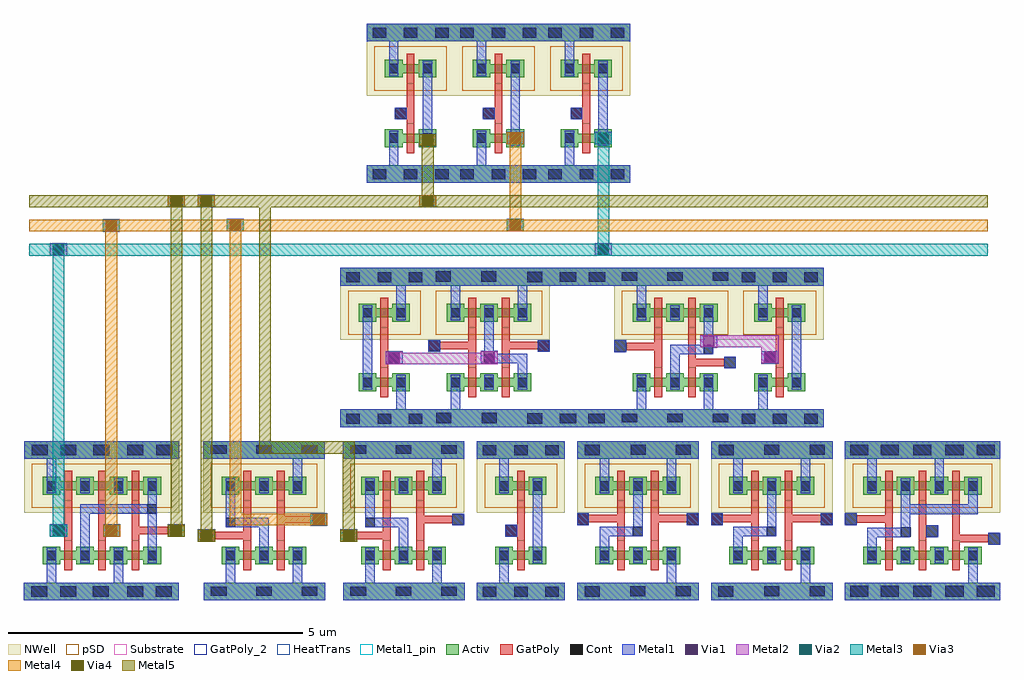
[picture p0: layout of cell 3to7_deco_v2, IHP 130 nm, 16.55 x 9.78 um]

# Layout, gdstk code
from math import pi, radians
import gdstk
lib = gdstk.Library(unit=1e-6, precision=5e-09)
def R(c, l, rs):  # rectangles x0, y0, x1, y1
    for r in rs: c.add(gdstk.rectangle(r[:2], r[2:], *l))
def A(c, l, x, y, w, h, nx, ny, dx, dy):  # array of equal rectangles
    R(c, l, [(x+i*dx, y+j*dy, x+i*dx+w, y+j*dy+h) for i in range(nx) for j in range(ny)])
Activ = (1, 0)
GatPoly = (5, 0)
GatPoly_2 = (5, 2)
Cont = (6, 0)
Metal1 = (8, 0)
Metal1_pin = (8, 2)
Metal2 = (10, 0)
pSD = (14, 0)
Via1 = (19, 0)
Via2 = (29, 0)
Metal3 = (30, 0)
NWell = (31, 0)
Substrate = (40, 0)
Via3 = (49, 0)
Metal4 = (50, 0)
HeatTrans = (51, 0)
Via4 = (66, 0)
Metal5 = (67, 0)

pmos_1 = lib.new_cell('pmos$1')
R(pmos_1, Activ, [(0,0,0.3,0.3), (0.57,0,0.87,0.3), (0,0.075,0.87,0.225)])
R(pmos_1, GatPoly, [(0.37,-0.105,0.5,0.405), (0.37,-0.105,0.5,0.405)])
R(pmos_1, Cont, [(0.07,0.07,0.23,0.23), (0.64,0.07,0.8,0.23)])
R(pmos_1, Metal1, [(0.07,0.02,0.23,0.28), (0.07,0.02,0.23,0.28), (0.64,0.02,0.8,0.28), (0.64,0.02,0.8,0.28)])
R(pmos_1, pSD, [(-0.18,-0.225,1.05,0.525)])
R(pmos_1, NWell, [(-0.31,-0.31,1.18,0.61)])
R(pmos_1, Substrate, [(0.57,0,0.87,0.3)])
R(pmos_1, HeatTrans, [(0.37,-0.105,0.5,0.405)])
pmos_1.add(gdstk.Label('pmos', (0.435,0.15), layer=63, texttype=0))
pmos_1.add(gdstk.Label('pmos', (0.435,0.15), layer=51, texttype=0))

nmos_1 = lib.new_cell('nmos$1')
R(nmos_1, Activ, [(0,0,0.3,0.3), (0.57,0,0.87,0.3), (0,0.075,0.87,0.225)])
R(nmos_1, GatPoly, [(0.37,-0.105,0.5,0.405)])
R(nmos_1, GatPoly_2, [(0.37,-0.105,0.5,0.405)])
R(nmos_1, Cont, [(0.07,0.07,0.23,0.23), (0.64,0.07,0.8,0.23)])
R(nmos_1, Metal1, [(0.07,0.02,0.23,0.28), (0.64,0.02,0.8,0.28)])
R(nmos_1, Metal1_pin, [(0.07,0.02,0.23,0.28), (0.64,0.02,0.8,0.28)])
R(nmos_1, HeatTrans, [(0.37,-0.105,0.5,0.405)])
nmos_1.add(gdstk.Label('nmos', (0.435,0.15), layer=63, texttype=0))
nmos_1.add(gdstk.Label('nmos', (0.435,0.15), layer=51, texttype=0))

pmos_1_1 = lib.new_cell('pmos$1$1')
R(pmos_1_1, Activ, [(0,0,0.3,0.3), (0.57,0,0.87,0.3), (0,0.075,0.87,0.225)])
R(pmos_1_1, GatPoly, [(0.37,-0.105,0.5,0.405), (0.37,-0.105,0.5,0.405)])
R(pmos_1_1, Cont, [(0.07,0.07,0.23,0.23), (0.64,0.07,0.8,0.23)])
R(pmos_1_1, Metal1, [(0.07,0.02,0.23,0.28), (0.07,0.02,0.23,0.28), (0.64,0.02,0.8,0.28), (0.64,0.02,0.8,0.28)])
R(pmos_1_1, pSD, [(-0.18,-0.225,1.05,0.525)])
R(pmos_1_1, NWell, [(-0.31,-0.31,1.18,0.61)])
R(pmos_1_1, Substrate, [(0.57,0,0.87,0.3)])
R(pmos_1_1, HeatTrans, [(0.37,-0.105,0.5,0.405)])
pmos_1_1.add(gdstk.Label('pmos', (0.435,0.15), layer=63, texttype=0))
pmos_1_1.add(gdstk.Label('pmos', (0.435,0.15), layer=51, texttype=0))

nmos_1_1 = lib.new_cell('nmos$1$1')
R(nmos_1_1, Activ, [(0,0,0.3,0.3), (0.57,0,0.87,0.3), (0,0.075,0.87,0.225)])
R(nmos_1_1, GatPoly, [(0.37,-0.105,0.5,0.405)])
R(nmos_1_1, GatPoly_2, [(0.37,-0.105,0.5,0.405)])
R(nmos_1_1, Cont, [(0.07,0.07,0.23,0.23), (0.64,0.07,0.8,0.23)])
R(nmos_1_1, Metal1, [(0.07,0.02,0.23,0.28), (0.64,0.02,0.8,0.28)])
R(nmos_1_1, Metal1_pin, [(0.07,0.02,0.23,0.28), (0.64,0.02,0.8,0.28)])
R(nmos_1_1, HeatTrans, [(0.37,-0.105,0.5,0.405)])
nmos_1_1.add(gdstk.Label('nmos', (0.435,0.15), layer=63, texttype=0))
nmos_1_1.add(gdstk.Label('nmos', (0.435,0.15), layer=51, texttype=0))

pmos_1_2 = lib.new_cell('pmos$1$2')
R(pmos_1_2, Activ, [(0,0,0.3,0.3), (0.57,0,0.87,0.3), (0,0.075,0.87,0.225)])
R(pmos_1_2, GatPoly, [(0.37,-0.105,0.5,0.405), (0.37,-0.105,0.5,0.405)])
R(pmos_1_2, Cont, [(0.07,0.07,0.23,0.23), (0.64,0.07,0.8,0.23)])
R(pmos_1_2, Metal1, [(0.07,0.02,0.23,0.28), (0.07,0.02,0.23,0.28), (0.64,0.02,0.8,0.28), (0.64,0.02,0.8,0.28)])
R(pmos_1_2, pSD, [(-0.18,-0.225,1.05,0.525)])
R(pmos_1_2, NWell, [(-0.31,-0.31,1.18,0.61)])
R(pmos_1_2, Substrate, [(0.57,0,0.87,0.3)])
R(pmos_1_2, HeatTrans, [(0.37,-0.105,0.5,0.405)])
pmos_1_2.add(gdstk.Label('pmos', (0.435,0.15), layer=63, texttype=0))
pmos_1_2.add(gdstk.Label('pmos', (0.435,0.15), layer=51, texttype=0))

nmos_1_2 = lib.new_cell('nmos$1$2')
R(nmos_1_2, Activ, [(0,0,0.3,0.3), (0.57,0,0.87,0.3), (0,0.075,0.87,0.225)])
R(nmos_1_2, GatPoly, [(0.37,-0.105,0.5,0.405)])
R(nmos_1_2, GatPoly_2, [(0.37,-0.105,0.5,0.405)])
R(nmos_1_2, Cont, [(0.07,0.07,0.23,0.23), (0.64,0.07,0.8,0.23)])
R(nmos_1_2, Metal1, [(0.07,0.02,0.23,0.28), (0.64,0.02,0.8,0.28)])
R(nmos_1_2, Metal1_pin, [(0.07,0.02,0.23,0.28), (0.64,0.02,0.8,0.28)])
R(nmos_1_2, HeatTrans, [(0.37,-0.105,0.5,0.405)])
nmos_1_2.add(gdstk.Label('nmos', (0.435,0.15), layer=63, texttype=0))
nmos_1_2.add(gdstk.Label('nmos', (0.435,0.15), layer=51, texttype=0))

inv = lib.new_cell('inv')
R(inv, Activ, [(0.24,0.255,1.73,0.555), (0.24,0.255,1.73,0.555), (0.24,0.255,1.73,0.555), (0.24,0.255,1.73,0.555), (0.24,2.655,1.73,2.955), (0.24,2.655,1.73,2.955), (0.24,2.655,1.73,2.955), (0.24,2.655,1.73,2.955)])
R(inv, GatPoly, [(0.92,0.76,1.05,2.45), (0.92,0.76,1.05,2.45), (0.92,0.76,1.05,2.45), (0.92,0.76,1.05,2.45), (0.72,1.335,0.92,1.535), (0.72,1.335,0.92,1.535), (0.72,1.335,0.92,1.535), (0.72,1.335,0.92,1.535)])
R(inv, Cont, [(0.34,0.315,0.57,0.485), (0.34,0.315,0.57,0.485), (0.34,0.315,0.57,0.485), (0.34,0.315,0.57,0.485), (0.87,0.315,1.1,0.485), (0.87,0.315,1.1,0.485), (0.87,0.315,1.1,0.485), (0.87,0.315,1.1,0.485), (1.4,0.315,1.63,0.485), (1.4,0.315,1.63,0.485), (1.4,0.315,1.63,0.485), (1.4,0.315,1.63,0.485), (0.72,1.335,0.92,1.535), (0.72,1.335,0.92,1.535), (0.72,1.335,0.92,1.535), (0.72,1.335,0.92,1.535), (0.34,2.715,0.57,2.885), (0.34,2.715,0.57,2.885), (0.34,2.715,0.57,2.885), (0.34,2.715,0.57,2.885), (0.87,2.715,1.1,2.885), (0.87,2.715,1.1,2.885), (0.87,2.715,1.1,2.885), (0.87,2.715,1.1,2.885), (1.4,2.715,1.63,2.885), (1.4,2.715,1.63,2.885), (1.4,2.715,1.63,2.885), (1.4,2.715,1.63,2.885)])
R(inv, Metal1, [(0.24,0.255,1.73,0.555), (0.24,0.255,1.73,0.555), (0.24,0.255,1.73,0.555), (0.24,0.255,1.73,0.555), (0.62,0.255,0.78,1.145), (0.62,0.255,0.78,1.145), (0.62,0.255,0.78,1.145), (0.62,0.255,0.78,1.145), (1.19,0.885,1.35,2.325), (1.19,0.885,1.35,2.325), (1.19,0.885,1.35,2.325), (1.19,0.885,1.35,2.325), (0.72,1.335,0.92,1.535), (0.72,1.335,0.92,1.535), (0.72,1.335,0.92,1.535), (0.72,1.335,0.92,1.535), (0.62,2.065,0.78,2.955), (0.62,2.065,0.78,2.955), (0.62,2.065,0.78,2.955), (0.62,2.065,0.78,2.955), (0.24,2.655,1.73,2.955), (0.24,2.655,1.73,2.955), (0.24,2.655,1.73,2.955), (0.24,2.655,1.73,2.955)])
R(inv, Metal1_pin, [(0.24,0.255,1.73,0.555), (0.24,0.255,1.73,0.555), (0.24,0.255,1.73,0.555), (0.24,0.255,1.73,0.555), (1.19,0.885,1.35,2.325), (1.19,0.885,1.35,2.325), (1.19,0.885,1.35,2.325), (1.19,0.885,1.35,2.325), (0.72,1.335,0.92,1.535), (0.72,1.335,0.92,1.535), (0.72,1.335,0.92,1.535), (0.72,1.335,0.92,1.535), (0.24,2.655,1.73,2.955), (0.24,2.655,1.73,2.955), (0.24,2.655,1.73,2.955), (0.24,2.655,1.73,2.955)])
R(inv, pSD, [(0.24,0.255,1.73,0.555), (0.24,0.255,1.73,0.555), (0.24,0.255,1.73,0.555), (0.24,0.255,1.73,0.555)])
R(inv, NWell, [(0.24,2.655,1.73,2.955), (0.24,2.655,1.73,2.955), (0.24,2.655,1.73,2.955), (0.24,2.655,1.73,2.955)])
inv.add(gdstk.Reference(pmos_1, (0.55,2.045)))
inv.add(gdstk.Reference(nmos_1, (0.55,0.865)))
inv.add(gdstk.Reference(pmos_1_1, (0.55,2.045)))
inv.add(gdstk.Reference(nmos_1_1, (0.55,0.865)))
inv.add(gdstk.Reference(pmos_1_2, (0.55,2.045)))
inv.add(gdstk.Reference(nmos_1_2, (0.55,0.865)))
inv.add(gdstk.Label('VIN', (0.78,1.435), layer=8, texttype=25))
inv.add(gdstk.Label('VSS', (0.95,0.37), layer=8, texttype=25))
inv.add(gdstk.Label('VOUT', (1.2,1.665), layer=8, texttype=25))
inv.add(gdstk.Label('VDD', (0.96,2.805), layer=8, texttype=25))
inv.add(gdstk.Label('VIN', (0.78,1.435), layer=8, texttype=25))
inv.add(gdstk.Label('VSS', (0.95,0.37), layer=8, texttype=25))
inv.add(gdstk.Label('VOUT', (1.2,1.665), layer=8, texttype=25))
inv.add(gdstk.Label('VDD', (0.96,2.805), layer=8, texttype=25))
inv.add(gdstk.Label('VIN', (0.78,1.435), layer=8, texttype=25))
inv.add(gdstk.Label('VSS', (0.95,0.37), layer=8, texttype=25))
inv.add(gdstk.Label('VOUT', (1.2,1.665), layer=8, texttype=25))
inv.add(gdstk.Label('VDD', (0.96,2.805), layer=8, texttype=25))
inv.add(gdstk.Label('VIN', (0.78,1.435), layer=8, texttype=25))
inv.add(gdstk.Label('VSS', (0.95,0.37), layer=8, texttype=25))
inv.add(gdstk.Label('VOUT', (1.2,1.665), layer=8, texttype=25))
inv.add(gdstk.Label('VDD', (0.96,2.805), layer=8, texttype=25))

nmos_3 = lib.new_cell('nmos$3')
R(nmos_3, Activ, [(0,0,0.3,0.3), (0.57,0,0.87,0.3), (0,0.075,0.87,0.225)])
R(nmos_3, GatPoly, [(0.37,-0.105,0.5,0.405)])
R(nmos_3, GatPoly_2, [(0.37,-0.105,0.5,0.405)])
R(nmos_3, Cont, [(0.07,0.07,0.23,0.23), (0.64,0.07,0.8,0.23)])
R(nmos_3, Metal1, [(0.07,0.02,0.23,0.28), (0.64,0.02,0.8,0.28)])
R(nmos_3, Metal1_pin, [(0.07,0.02,0.23,0.28), (0.64,0.02,0.8,0.28)])
R(nmos_3, HeatTrans, [(0.37,-0.105,0.5,0.405)])
nmos_3.add(gdstk.Label('nmos', (0.435,0.15), layer=63, texttype=0))
nmos_3.add(gdstk.Label('nmos', (0.435,0.15), layer=51, texttype=0))

pmos_3 = lib.new_cell('pmos$3')
R(pmos_3, Activ, [(0,0,0.3,0.3), (0.57,0,0.87,0.3), (0,0.075,0.87,0.225)])
R(pmos_3, GatPoly, [(0.37,-0.105,0.5,0.405), (0.37,-0.105,0.5,0.405)])
R(pmos_3, Cont, [(0.07,0.07,0.23,0.23), (0.64,0.07,0.8,0.23)])
R(pmos_3, Metal1, [(0.07,0.02,0.23,0.28), (0.07,0.02,0.23,0.28), (0.64,0.02,0.8,0.28), (0.64,0.02,0.8,0.28)])
R(pmos_3, pSD, [(-0.18,-0.225,1.05,0.525)])
R(pmos_3, NWell, [(-0.31,-0.31,1.18,0.61)])
R(pmos_3, Substrate, [(0.57,0,0.87,0.3)])
R(pmos_3, HeatTrans, [(0.37,-0.105,0.5,0.405)])
pmos_3.add(gdstk.Label('pmos', (0.435,0.15), layer=63, texttype=0))
pmos_3.add(gdstk.Label('pmos', (0.435,0.15), layer=51, texttype=0))

nmos_2_1 = lib.new_cell('nmos$2$1')
R(nmos_2_1, Activ, [(0,0,0.3,0.3), (0.57,0,0.87,0.3), (0,0.075,0.87,0.225)])
R(nmos_2_1, GatPoly, [(0.37,-0.105,0.5,0.405)])
R(nmos_2_1, GatPoly_2, [(0.37,-0.105,0.5,0.405)])
R(nmos_2_1, Cont, [(0.07,0.07,0.23,0.23), (0.64,0.07,0.8,0.23)])
R(nmos_2_1, Metal1, [(0.07,0.02,0.23,0.28), (0.64,0.02,0.8,0.28)])
R(nmos_2_1, Metal1_pin, [(0.07,0.02,0.23,0.28), (0.64,0.02,0.8,0.28)])
R(nmos_2_1, HeatTrans, [(0.37,-0.105,0.5,0.405)])
nmos_2_1.add(gdstk.Label('nmos', (0.435,0.15), layer=63, texttype=0))
nmos_2_1.add(gdstk.Label('nmos', (0.435,0.15), layer=51, texttype=0))

pmos_2_1 = lib.new_cell('pmos$2$1')
R(pmos_2_1, Activ, [(0,0,0.3,0.3), (0.57,0,0.87,0.3), (0,0.075,0.87,0.225)])
R(pmos_2_1, GatPoly, [(0.37,-0.105,0.5,0.405), (0.37,-0.105,0.5,0.405)])
R(pmos_2_1, Cont, [(0.07,0.07,0.23,0.23), (0.64,0.07,0.8,0.23)])
R(pmos_2_1, Metal1, [(0.07,0.02,0.23,0.28), (0.07,0.02,0.23,0.28), (0.64,0.02,0.8,0.28), (0.64,0.02,0.8,0.28)])
R(pmos_2_1, pSD, [(-0.18,-0.225,1.05,0.525)])
R(pmos_2_1, NWell, [(-0.31,-0.31,1.18,0.61)])
R(pmos_2_1, Substrate, [(0.57,0,0.87,0.3)])
R(pmos_2_1, HeatTrans, [(0.37,-0.105,0.5,0.405)])
pmos_2_1.add(gdstk.Label('pmos', (0.435,0.15), layer=63, texttype=0))
pmos_2_1.add(gdstk.Label('pmos', (0.435,0.15), layer=51, texttype=0))

nand_custom = lib.new_cell('nand_custom')
R(nand_custom, Activ, [(0.95,1.7,3.01,2), (0.95,1.7,3.01,2), (0.95,1.7,3.01,2), (0.95,4.1,3.01,4.4), (0.95,4.1,3.01,4.4), (0.95,4.1,3.01,4.4)])
R(nand_custom, GatPoly, [(1.63,2.205,1.76,3.895), (1.63,2.205,1.76,3.895), (1.63,2.205,1.76,3.895), (2.2,2.205,2.33,3.895), (2.2,2.205,2.33,3.895), (2.2,2.205,2.33,3.895), (0.95,2.975,1.15,3.175), (0.95,2.975,1.15,3.175), (0.95,2.975,1.15,3.175), (2.81,2.975,3.01,3.175), (2.81,2.975,3.01,3.175), (2.81,2.975,3.01,3.175), (1.15,3.02,1.76,3.15), (1.15,3.02,1.76,3.15), (1.15,3.02,1.76,3.15), (2.2,3.02,2.81,3.15), (2.2,3.02,2.81,3.15), (2.2,3.02,2.81,3.15)])
R(nand_custom, Cont, [(1.075,1.76,1.33,1.935), (1.075,1.76,1.33,1.935), (1.075,1.76,1.33,1.935), (1.85,1.765,2.105,1.94), (1.85,1.765,2.105,1.94), (1.85,1.765,2.105,1.94), (2.62,1.765,2.875,1.94), (2.62,1.765,2.875,1.94), (2.62,1.765,2.875,1.94), (1.895,2.785,2.06,2.945), (1.895,2.785,2.06,2.945), (1.895,2.785,2.06,2.945), (0.95,2.975,1.15,3.175), (0.95,2.975,1.15,3.175), (0.95,2.975,1.15,3.175), (2.81,2.975,3.01,3.175), (2.81,2.975,3.01,3.175), (2.81,2.975,3.01,3.175), (1.08,4.16,1.335,4.335), (1.08,4.16,1.335,4.335), (1.08,4.16,1.335,4.335), (1.855,4.165,2.11,4.34), (1.855,4.165,2.11,4.34), (1.855,4.165,2.11,4.34), (2.625,4.165,2.88,4.34), (2.625,4.165,2.88,4.34), (2.625,4.165,2.88,4.34)])
R(nand_custom, Metal1, [(0.95,1.7,3.01,2), (0.95,1.7,3.01,2), (0.95,1.7,3.01,2), (2.47,1.7,2.63,2.59), (2.47,1.7,2.63,2.59), (2.47,1.7,2.63,2.59), (1.33,2.33,1.49,2.945), (1.33,2.33,1.49,2.945), (1.33,2.33,1.49,2.945), (1.33,2.785,2.06,2.945), (1.33,2.785,2.06,2.945), (1.33,2.785,2.06,2.945), (1.9,2.785,2.06,3.77), (1.9,2.785,2.06,3.77), (1.9,2.785,2.06,3.77), (0.95,2.975,1.15,3.175), (0.95,2.975,1.15,3.175), (0.95,2.975,1.15,3.175), (2.81,2.975,3.01,3.175), (2.81,2.975,3.01,3.175), (2.81,2.975,3.01,3.175), (1.33,3.51,1.49,4.4), (1.33,3.51,1.49,4.4), (1.33,3.51,1.49,4.4), (2.47,3.51,2.63,4.4), (2.47,3.51,2.63,4.4), (2.47,3.51,2.63,4.4), (0.95,4.1,3.01,4.4), (0.95,4.1,3.01,4.4), (0.95,4.1,3.01,4.4)])
R(nand_custom, Metal1_pin, [(0.95,1.7,3.01,2), (0.95,1.7,3.01,2), (0.95,1.7,3.01,2), (1.9,2.785,2.06,3.77), (1.9,2.785,2.06,3.77), (1.9,2.785,2.06,3.77), (0.95,2.975,1.15,3.175), (0.95,2.975,1.15,3.175), (0.95,2.975,1.15,3.175), (2.81,2.975,3.01,3.175), (2.81,2.975,3.01,3.175), (2.81,2.975,3.01,3.175), (0.95,4.1,3.01,4.4), (0.95,4.1,3.01,4.4), (0.95,4.1,3.01,4.4)])
R(nand_custom, pSD, [(0.95,1.7,3.01,2), (0.95,1.7,3.01,2), (0.95,1.7,3.01,2)])
R(nand_custom, NWell, [(0.95,4.1,3.01,4.4), (0.95,4.1,3.01,4.4), (0.95,4.1,3.01,4.4)])
nand_custom.add(gdstk.Reference(nmos_3, (1.26,2.31)))
nand_custom.add(gdstk.Reference(nmos_3, (1.83,2.31)))
nand_custom.add(gdstk.Reference(pmos_3, (2.7,3.79), rotation=pi))
nand_custom.add(gdstk.Reference(pmos_3, (1.26,3.49)))
nand_custom.add(gdstk.Reference(nmos_2_1, (1.26,2.31)))
nand_custom.add(gdstk.Reference(nmos_2_1, (1.83,2.31)))
nand_custom.add(gdstk.Reference(pmos_2_1, (2.7,3.79), rotation=pi))
nand_custom.add(gdstk.Reference(pmos_2_1, (1.26,3.49)))
nand_custom.add(gdstk.Label('VSS', (1.94,1.84), layer=8, texttype=25))
nand_custom.add(gdstk.Label('A', (1.05,3.075), layer=8, texttype=25))
nand_custom.add(gdstk.Label('OUT', (1.925,2.83), layer=8, texttype=25))
nand_custom.add(gdstk.Label('B', (2.89,3.08), layer=8, texttype=25))
nand_custom.add(gdstk.Label('VDD', (1.93,4.21), layer=8, texttype=25))
nand_custom.add(gdstk.Label('VSS', (1.94,1.84), layer=8, texttype=25))
nand_custom.add(gdstk.Label('A', (1.05,3.075), layer=8, texttype=25))
nand_custom.add(gdstk.Label('OUT', (1.925,2.83), layer=8, texttype=25))
nand_custom.add(gdstk.Label('B', (2.89,3.08), layer=8, texttype=25))
nand_custom.add(gdstk.Label('VDD', (1.93,4.21), layer=8, texttype=25))
nand_custom.add(gdstk.Label('VSS', (1.94,1.84), layer=8, texttype=25))
nand_custom.add(gdstk.Label('A', (1.05,3.075), layer=8, texttype=25))
nand_custom.add(gdstk.Label('OUT', (1.925,2.83), layer=8, texttype=25))
nand_custom.add(gdstk.Label('B', (2.89,3.08), layer=8, texttype=25))
nand_custom.add(gdstk.Label('VDD', (1.93,4.21), layer=8, texttype=25))

via_stack_1 = lib.new_cell('via_stack$1')
R(via_stack_1, Metal1, [(-0.145,-0.105,0.145,0.105)])
R(via_stack_1, Metal2, [(-0.145,-0.1,0.145,0.1)])
R(via_stack_1, Via1, [(-0.095,-0.095,0.095,0.095)])

and_custom = lib.new_cell('and_custom')
R(and_custom, Metal2, [(2.61,1.32,4.515,1.52)])
and_custom.add(gdstk.Reference(inv, (3.55,0)))
and_custom.add(gdstk.Reference(nand_custom, (0.78,-1.445)))
and_custom.add(gdstk.Reference(via_stack_1, (4.37,1.435)))
and_custom.add(gdstk.Reference(via_stack_1, (2.755,1.445)))
and_custom.add(gdstk.Label('A', (1.775,1.61), layer=8, texttype=25))
and_custom.add(gdstk.Label('B', (3.69,1.63), layer=8, texttype=25))
and_custom.add(gdstk.Label('VSS', (1.925,0.385), layer=8, texttype=25))
and_custom.add(gdstk.Label('VDD', (1.93,2.765), layer=8, texttype=25))
and_custom.add(gdstk.Label('OUT', (4.775,1.6), layer=8, texttype=25))

via_stack = lib.new_cell('via_stack')
R(via_stack, Metal1, [(-0.145,-0.105,0.145,0.105)])
R(via_stack, Metal2, [(-0.145,-0.1,0.145,0.1)])
R(via_stack, Via1, [(-0.095,-0.095,0.095,0.095)])

pmos_2 = lib.new_cell('pmos$2')
R(pmos_2, Activ, [(0,0,0.3,0.3), (0.57,0,0.87,0.3), (0,0.075,0.87,0.225)])
R(pmos_2, GatPoly, [(0.37,-0.105,0.5,0.405), (0.37,-0.105,0.5,0.405)])
R(pmos_2, Cont, [(0.07,0.07,0.23,0.23), (0.64,0.07,0.8,0.23)])
R(pmos_2, Metal1, [(0.07,0.02,0.23,0.28), (0.07,0.02,0.23,0.28), (0.64,0.02,0.8,0.28), (0.64,0.02,0.8,0.28)])
R(pmos_2, pSD, [(-0.18,-0.225,1.05,0.525)])
R(pmos_2, NWell, [(-0.31,-0.31,1.18,0.61)])
R(pmos_2, Substrate, [(0.57,0,0.87,0.3)])
R(pmos_2, HeatTrans, [(0.37,-0.105,0.5,0.405)])
pmos_2.add(gdstk.Label('pmos', (0.435,0.15), layer=63, texttype=0))
pmos_2.add(gdstk.Label('pmos', (0.435,0.15), layer=51, texttype=0))

nmos_2 = lib.new_cell('nmos$2')
R(nmos_2, Activ, [(0,0,0.3,0.3), (0.57,0,0.87,0.3), (0,0.075,0.87,0.225)])
R(nmos_2, GatPoly, [(0.37,-0.105,0.5,0.405)])
R(nmos_2, GatPoly_2, [(0.37,-0.105,0.5,0.405)])
R(nmos_2, Cont, [(0.07,0.07,0.23,0.23), (0.64,0.07,0.8,0.23)])
R(nmos_2, Metal1, [(0.07,0.02,0.23,0.28), (0.64,0.02,0.8,0.28)])
R(nmos_2, Metal1_pin, [(0.07,0.02,0.23,0.28), (0.64,0.02,0.8,0.28)])
R(nmos_2, HeatTrans, [(0.37,-0.105,0.5,0.405)])
nmos_2.add(gdstk.Label('nmos', (0.435,0.15), layer=63, texttype=0))
nmos_2.add(gdstk.Label('nmos', (0.435,0.15), layer=51, texttype=0))

pmos_4 = lib.new_cell('pmos$4')
R(pmos_4, Activ, [(0,0,0.3,0.3), (0.57,0,0.87,0.3), (0,0.075,0.87,0.225)])
R(pmos_4, GatPoly, [(0.37,-0.105,0.5,0.405), (0.37,-0.105,0.5,0.405)])
R(pmos_4, Cont, [(0.07,0.07,0.23,0.23), (0.64,0.07,0.8,0.23)])
R(pmos_4, Metal1, [(0.07,0.02,0.23,0.28), (0.07,0.02,0.23,0.28), (0.64,0.02,0.8,0.28), (0.64,0.02,0.8,0.28)])
R(pmos_4, pSD, [(-0.18,-0.225,1.05,0.525)])
R(pmos_4, NWell, [(-0.31,-0.31,1.18,0.61)])
R(pmos_4, Substrate, [(0.57,0,0.87,0.3)])
R(pmos_4, HeatTrans, [(0.37,-0.105,0.5,0.405)])
pmos_4.add(gdstk.Label('pmos', (0.435,0.15), layer=63, texttype=0))
pmos_4.add(gdstk.Label('pmos', (0.435,0.15), layer=51, texttype=0))

nmos_4 = lib.new_cell('nmos$4')
R(nmos_4, Activ, [(0,0,0.3,0.3), (0.57,0,0.87,0.3), (0,0.075,0.87,0.225)])
R(nmos_4, GatPoly, [(0.37,-0.105,0.5,0.405)])
R(nmos_4, GatPoly_2, [(0.37,-0.105,0.5,0.405)])
R(nmos_4, Cont, [(0.07,0.07,0.23,0.23), (0.64,0.07,0.8,0.23)])
R(nmos_4, Metal1, [(0.07,0.02,0.23,0.28), (0.64,0.02,0.8,0.28)])
R(nmos_4, Metal1_pin, [(0.07,0.02,0.23,0.28), (0.64,0.02,0.8,0.28)])
R(nmos_4, HeatTrans, [(0.37,-0.105,0.5,0.405)])
nmos_4.add(gdstk.Label('nmos', (0.435,0.15), layer=63, texttype=0))
nmos_4.add(gdstk.Label('nmos', (0.435,0.15), layer=51, texttype=0))

nor_custom = lib.new_cell('nor_custom')
R(nor_custom, Activ, [(0.165,0.28,2.225,0.58), (0.165,0.28,2.225,0.58), (0.17,2.68,2.23,2.98), (0.17,2.68,2.23,2.98)])
R(nor_custom, GatPoly, [(0.85,0.785,0.98,2.475), (0.85,0.785,0.98,2.475), (1.42,0.785,1.55,2.475), (1.42,0.785,1.55,2.475), (1.42,1.31,2.03,1.44), (1.42,1.31,2.03,1.44), (0.37,1.585,0.98,1.715), (0.37,1.585,0.98,1.715)])
R(nor_custom, Cont, [(0.295,0.36,0.56,0.505), (0.295,0.36,0.56,0.505), (1.065,0.36,1.33,0.505), (1.065,0.36,1.33,0.505), (1.835,0.36,2.1,0.505), (1.835,0.36,2.1,0.505), (2.03,1.275,2.23,1.475), (2.03,1.275,2.23,1.475), (1.69,1.52,1.85,1.68), (1.69,1.52,1.85,1.68), (0.17,1.55,0.37,1.75), (0.17,1.55,0.37,1.75), (0.295,2.765,0.56,2.91), (0.295,2.765,0.56,2.91), (1.065,2.765,1.33,2.91), (1.065,2.765,1.33,2.91), (1.835,2.765,2.1,2.91), (1.835,2.765,2.1,2.91)])
R(nor_custom, Metal1, [(0.165,0.28,2.225,0.58), (0.165,0.28,2.225,0.58), (0.55,0.28,0.71,1.17), (0.55,0.28,0.71,1.17), (1.69,0.28,1.85,1.17), (1.69,0.28,1.85,1.17), (1.12,0.91,1.28,1.68), (1.12,0.91,1.28,1.68), (2.03,1.275,2.23,1.475), (2.03,1.275,2.23,1.475), (1.12,1.52,1.85,1.68), (1.12,1.52,1.85,1.68), (1.69,1.52,1.85,2.35), (1.69,1.52,1.85,2.35), (0.17,1.55,0.37,1.75), (0.17,1.55,0.37,1.75), (0.55,2.09,0.71,2.98), (0.55,2.09,0.71,2.98), (0.17,2.68,2.23,2.98), (0.17,2.68,2.23,2.98)])
R(nor_custom, Metal1_pin, [(0.165,0.28,2.225,0.58), (0.165,0.28,2.225,0.58), (2.03,1.275,2.23,1.475), (2.03,1.275,2.23,1.475), (1.69,1.52,1.85,2.35), (1.69,1.52,1.85,2.35), (0.17,1.55,0.37,1.75), (0.17,1.55,0.37,1.75), (0.17,2.68,2.23,2.98), (0.17,2.68,2.23,2.98)])
R(nor_custom, pSD, [(0.165,0.28,2.225,0.58), (0.165,0.28,2.225,0.58)])
R(nor_custom, NWell, [(0.17,2.68,2.23,2.98), (0.17,2.68,2.23,2.98)])
nor_custom.add(gdstk.Reference(pmos_2, (0.48,2.07)))
nor_custom.add(gdstk.Reference(pmos_2, (1.05,2.07)))
nor_custom.add(gdstk.Reference(nmos_2, (1.92,1.19), rotation=pi))
nor_custom.add(gdstk.Reference(nmos_2, (0.48,0.89)))
nor_custom.add(gdstk.Reference(pmos_4, (0.48,2.07)))
nor_custom.add(gdstk.Reference(pmos_4, (1.05,2.07)))
nor_custom.add(gdstk.Reference(nmos_4, (1.92,1.19), rotation=pi))
nor_custom.add(gdstk.Reference(nmos_4, (0.48,0.89)))
nor_custom.add(gdstk.Label('VSS', (1.155,0.405), layer=8, texttype=25))
nor_custom.add(gdstk.Label('A', (0.23,1.6), layer=8, texttype=25))
nor_custom.add(gdstk.Label('B', (2.085,1.35), layer=8, texttype=25))
nor_custom.add(gdstk.Label('OUT', (1.735,1.555), layer=8, texttype=25))
nor_custom.add(gdstk.Label('VDD', (1.13,2.815), layer=8, texttype=25))
nor_custom.add(gdstk.Label('VSS', (1.155,0.405), layer=8, texttype=25))
nor_custom.add(gdstk.Label('A', (0.23,1.6), layer=8, texttype=25))
nor_custom.add(gdstk.Label('B', (2.085,1.35), layer=8, texttype=25))
nor_custom.add(gdstk.Label('OUT', (1.735,1.555), layer=8, texttype=25))
nor_custom.add(gdstk.Label('VDD', (1.13,2.815), layer=8, texttype=25))

or_custom = lib.new_cell('or_custom')
R(or_custom, Activ, [(0.165,0.28,3.72,0.58)])
R(or_custom, Metal1, [(0.165,0.28,3.72,0.58), (0.165,0.28,3.72,0.58)])
R(or_custom, Metal1_pin, [(0.165,0.28,3.72,0.58)])
R(or_custom, Metal2, [(2.665,1.36,2.955,1.835), (1.625,1.635,2.955,1.835)])
or_custom.add(gdstk.Reference(inv, (1.99,0.025)))
or_custom.add(gdstk.Reference(via_stack, (2.81,1.46)))
or_custom.add(gdstk.Reference(via_stack, (1.77,1.735)))
or_custom.add(gdstk.Reference(nor_custom, (0,0)))
or_custom.add(gdstk.Label('OUT', (3.23,1.65), layer=8, texttype=25))
or_custom.add(gdstk.Label('A', (0.27,1.65), layer=8, texttype=25))
or_custom.add(gdstk.Label('B', (2.105,1.335), layer=8, texttype=25))
or_custom.add(gdstk.Label('VSS', (1.915,0.395), layer=8, texttype=25))
or_custom.add(gdstk.Label('VDD', (1.885,2.82), layer=8, texttype=25))

via_stack_3 = lib.new_cell('via_stack$3')
R(via_stack_3, Metal1, [(-0.145,-0.105,0.145,0.105)])
R(via_stack_3, Metal2, [(-0.145,-0.1,0.145,0.1)])
R(via_stack_3, Via1, [(-0.095,-0.095,0.095,0.095)])
R(via_stack_3, Via2, [(-0.095,-0.095,0.095,0.095)])
R(via_stack_3, Metal3, [(-0.145,-0.1,0.145,0.1)])
R(via_stack_3, Via3, [(-0.095,-0.095,0.095,0.095)])
R(via_stack_3, Metal4, [(-0.145,-0.1,0.145,0.1)])
R(via_stack_3, Via4, [(-0.095,-0.095,0.095,0.095)])
R(via_stack_3, Metal5, [(-0.145,-0.1,0.145,0.1)])

via_stack_4 = lib.new_cell('via_stack$4')
R(via_stack_4, Metal1, [(-0.145,-0.105,0.145,0.105)])
R(via_stack_4, Metal2, [(-0.145,-0.1,0.145,0.1)])
R(via_stack_4, Via1, [(-0.095,-0.095,0.095,0.095)])
R(via_stack_4, Via2, [(-0.095,-0.095,0.095,0.095)])
R(via_stack_4, Metal3, [(-0.145,-0.1,0.145,0.1)])
R(via_stack_4, Via3, [(-0.095,-0.095,0.095,0.095)])
R(via_stack_4, Metal4, [(-0.145,-0.1,0.145,0.1)])

via_stack_6 = lib.new_cell('via_stack$6')
R(via_stack_6, Metal1, [(-0.145,-0.105,0.145,0.105)])
R(via_stack_6, Metal2, [(-0.145,-0.1,0.145,0.1)])
R(via_stack_6, Via1, [(-0.095,-0.095,0.095,0.095)])
R(via_stack_6, Via2, [(-0.095,-0.095,0.095,0.095)])
R(via_stack_6, Metal3, [(-0.145,-0.1,0.145,0.1)])

pmos_5 = lib.new_cell('pmos$5')
R(pmos_5, Activ, [(0,0,0.3,0.3), (0.57,0,0.87,0.3), (0,0.075,0.87,0.225)])
R(pmos_5, GatPoly, [(0.37,-0.105,0.5,0.405), (0.37,-0.105,0.5,0.405)])
R(pmos_5, Cont, [(0.07,0.07,0.23,0.23), (0.64,0.07,0.8,0.23)])
R(pmos_5, Metal1, [(0.07,0.02,0.23,0.28), (0.07,0.02,0.23,0.28), (0.64,0.02,0.8,0.28), (0.64,0.02,0.8,0.28)])
R(pmos_5, pSD, [(-0.18,-0.225,1.05,0.525)])
R(pmos_5, NWell, [(-0.31,-0.31,1.18,0.61)])
R(pmos_5, Substrate, [(0.57,0,0.87,0.3)])
R(pmos_5, HeatTrans, [(0.37,-0.105,0.5,0.405)])
pmos_5.add(gdstk.Label('pmos', (0.435,0.15), layer=63, texttype=0))
pmos_5.add(gdstk.Label('pmos', (0.435,0.15), layer=51, texttype=0))

nmos_5 = lib.new_cell('nmos$5')
R(nmos_5, Activ, [(0,0,0.3,0.3), (0.57,0,0.87,0.3), (0,0.075,0.87,0.225)])
R(nmos_5, GatPoly, [(0.37,-0.105,0.5,0.405)])
R(nmos_5, GatPoly_2, [(0.37,-0.105,0.5,0.405)])
R(nmos_5, Cont, [(0.07,0.07,0.23,0.23), (0.64,0.07,0.8,0.23)])
R(nmos_5, Metal1, [(0.07,0.02,0.23,0.28), (0.64,0.02,0.8,0.28)])
R(nmos_5, Metal1_pin, [(0.07,0.02,0.23,0.28), (0.64,0.02,0.8,0.28)])
R(nmos_5, HeatTrans, [(0.37,-0.105,0.5,0.405)])
nmos_5.add(gdstk.Label('nmos', (0.435,0.15), layer=63, texttype=0))
nmos_5.add(gdstk.Label('nmos', (0.435,0.15), layer=51, texttype=0))

nand_x3_custom = lib.new_cell('nand_x3_custom')
R(nand_x3_custom, Activ, [(0.82,3.075,3.45,3.375), (0.82,5.475,3.45,5.775)])
A(nand_x3_custom, GatPoly, 1.5, 3.58, 0.13, 1.69, 3, 1, 0.57, 0)
R(nand_x3_custom, GatPoly, [(2.64,4.055,3.25,4.185), (1.02,4.385,1.5,4.515)])
A(nand_x3_custom, Cont, 1.425, 3.135, 0.31, 0.185, 3, 2, 0.55, 2.395)
R(nand_x3_custom, Cont, [(0.91,3.135,1.22,3.32), (3.055,3.135,3.365,3.32), (3.25,4.02,3.45,4.22), (2.2,4.145,2.4,4.345), (1.77,4.15,1.935,4.31), (0.82,4.35,1.02,4.55), (0.91,5.53,1.22,5.715), (3.055,5.53,3.365,5.715)])
R(nand_x3_custom, Metal1, [(0.82,3.075,3.45,3.375), (2.91,3.075,3.07,3.965), (1.2,3.705,1.36,4.305), (3.25,4.02,3.45,4.22), (1.2,4.145,1.93,4.305), (1.77,4.145,1.93,5.145), (2.2,4.145,2.4,4.345), (0.82,4.35,1.02,4.55), (1.77,4.535,3.07,4.7), (2.91,4.535,3.07,5.145), (1.2,4.885,1.36,5.775), (2.34,4.885,2.5,5.775), (0.82,5.475,3.45,5.775)])
R(nand_x3_custom, Metal1_pin, [(0.82,3.075,3.45,3.375), (3.25,4.02,3.45,4.22), (1.77,4.145,1.93,5.145), (2.2,4.145,2.4,4.345), (0.82,4.35,1.02,4.55), (0.82,5.475,3.45,5.775)])
R(nand_x3_custom, pSD, [(0.82,3.075,3.45,3.375)])
R(nand_x3_custom, NWell, [(0.82,5.475,3.45,5.775)])
nand_x3_custom.add(gdstk.Reference(pmos_5, (2.57,5.165), rotation=pi))
nand_x3_custom.add(gdstk.Reference(pmos_5, (2.27,4.865)))
nand_x3_custom.add(gdstk.Reference(nmos_5, (2,3.985), rotation=pi))
nand_x3_custom.add(gdstk.Reference(nmos_5, (2.57,3.985), rotation=pi))
nand_x3_custom.add(gdstk.Reference(nmos_5, (3.14,3.985), rotation=pi))
nand_x3_custom.add(gdstk.Reference(pmos_5, (1.13,4.865)))
nand_x3_custom.add(gdstk.Label('C', (3.355,4.08), layer=8, texttype=25))
nand_x3_custom.add(gdstk.Label('VSS', (2.135,3.185), layer=8, texttype=25))
nand_x3_custom.add(gdstk.Label('A', (0.88,4.4), layer=8, texttype=25))
nand_x3_custom.add(gdstk.Label('B', (2.28,4.2), layer=8, texttype=25))
nand_x3_custom.add(gdstk.Label('OUT', (1.785,4.205), layer=8, texttype=25))
nand_x3_custom.add(gdstk.Label('VDD', (2.075,5.575), layer=8, texttype=25))

nmos = lib.new_cell('nmos')
R(nmos, Activ, [(0,0,0.3,0.3), (0.57,0,0.87,0.3), (0,0.075,0.87,0.225)])
R(nmos, GatPoly, [(0.37,-0.105,0.5,0.405)])
R(nmos, GatPoly_2, [(0.37,-0.105,0.5,0.405)])
R(nmos, Cont, [(0.07,0.07,0.23,0.23), (0.64,0.07,0.8,0.23)])
R(nmos, Metal1, [(0.07,0.02,0.23,0.28), (0.64,0.02,0.8,0.28)])
R(nmos, Metal1_pin, [(0.07,0.02,0.23,0.28), (0.64,0.02,0.8,0.28)])
R(nmos, HeatTrans, [(0.37,-0.105,0.5,0.405)])
nmos.add(gdstk.Label('nmos', (0.435,0.15), layer=63, texttype=0))
nmos.add(gdstk.Label('nmos', (0.435,0.15), layer=51, texttype=0))

pmos = lib.new_cell('pmos')
R(pmos, Activ, [(0,0,0.3,0.3), (0.57,0,0.87,0.3), (0,0.075,0.87,0.225)])
R(pmos, GatPoly, [(0.37,-0.105,0.5,0.405), (0.37,-0.105,0.5,0.405)])
R(pmos, Cont, [(0.07,0.07,0.23,0.23), (0.64,0.07,0.8,0.23)])
R(pmos, Metal1, [(0.07,0.02,0.23,0.28), (0.07,0.02,0.23,0.28), (0.64,0.02,0.8,0.28), (0.64,0.02,0.8,0.28)])
R(pmos, pSD, [(-0.18,-0.225,1.05,0.525)])
R(pmos, NWell, [(-0.31,-0.31,1.18,0.61)])
R(pmos, Substrate, [(0.57,0,0.87,0.3)])
R(pmos, HeatTrans, [(0.37,-0.105,0.5,0.405)])
pmos.add(gdstk.Label('pmos', (0.435,0.15), layer=63, texttype=0))
pmos.add(gdstk.Label('pmos', (0.435,0.15), layer=51, texttype=0))

nor_x3_custom = lib.new_cell('nor_x3_custom')
R(nor_x3_custom, Activ, [(0.985,0.865,3.61,1.165), (0.99,3.265,3.62,3.565)])
A(nor_x3_custom, GatPoly, 1.67, 1.37, 0.13, 1.69, 3, 1, 0.57, 0)
R(nor_x3_custom, GatPoly, [(2.81,1.98,3.42,2.11)])
R(nor_x3_custom, Cont, [(1.11,0.925,1.38,1.105), (1.6,0.925,1.87,1.105), (2.155,0.925,2.425,1.105), (2.735,0.925,3.005,1.105), (3.22,0.925,3.49,1.105), (1.47,1.945,1.67,2.145), (2.37,1.945,2.57,2.145), (3.42,1.945,3.62,2.145), (3.075,2.33,3.24,2.49), (1.115,3.325,1.385,3.505), (1.605,3.325,1.875,3.505), (2.16,3.325,2.43,3.505), (2.74,3.325,3.01,3.505), (3.225,3.325,3.495,3.505)])
R(nor_x3_custom, Metal1, [(0.985,0.865,3.61,1.165), (1.37,0.865,1.53,1.755), (2.51,0.865,2.67,1.755), (1.94,1.495,2.1,2.49), (3.08,1.495,3.24,2.935), (1.47,1.945,1.67,2.145), (2.37,1.945,2.57,2.145), (3.42,1.945,3.62,2.145), (1.94,2.33,3.24,2.49), (1.37,2.675,1.53,3.565), (0.99,3.265,3.62,3.565)])
R(nor_x3_custom, Metal1_pin, [(0.985,0.865,3.61,1.165), (3.08,1.495,3.24,2.935), (1.47,1.945,1.67,2.145), (2.37,1.945,2.57,2.145), (3.42,1.945,3.62,2.145), (0.99,3.265,3.62,3.565)])
R(nor_x3_custom, pSD, [(0.985,0.865,3.61,1.165)])
R(nor_x3_custom, NWell, [(0.99,3.265,3.62,3.565)])
nor_x3_custom.add(gdstk.Reference(nmos, (1.3,1.475)))
nor_x3_custom.add(gdstk.Reference(pmos, (1.3,2.655)))
nor_x3_custom.add(gdstk.Reference(pmos, (1.87,2.655)))
nor_x3_custom.add(gdstk.Reference(pmos, (2.44,2.655)))
nor_x3_custom.add(gdstk.Reference(nmos, (2.44,1.475)))
nor_x3_custom.add(gdstk.Reference(nmos, (2.74,1.775), rotation=pi))
nor_x3_custom.add(gdstk.Label('VSS', (2.235,0.985), layer=8, texttype=25))
nor_x3_custom.add(gdstk.Label('OUT', (3.095,2.355), layer=8, texttype=25))
nor_x3_custom.add(gdstk.Label('B', (2.465,2.01), layer=8, texttype=25))
nor_x3_custom.add(gdstk.Label('C', (3.515,2.01), layer=8, texttype=25))
nor_x3_custom.add(gdstk.Label('A', (1.55,2.015), layer=8, texttype=25))
nor_x3_custom.add(gdstk.Label('VDD', (2.225,3.37), layer=8, texttype=25))

c_3to7_deco_v2 = lib.new_cell('3to7_deco_v2')
R(c_3to7_deco_v2, Activ, [(8.95,3.74,10.04,4.04), (8.95,6.14,10.045,6.44)])
R(c_3to7_deco_v2, Cont, [(9.12,3.81,9.4,3.97), (9.605,3.81,9.885,3.97), (9.12,6.205,9.4,6.365), (9.615,6.205,9.895,6.365)])
R(c_3to7_deco_v2, Metal1, [(8.95,3.74,10.04,4.04), (8.95,6.14,10.045,6.44)])
R(c_3to7_deco_v2, Metal1_pin, [(8.95,3.74,10.04,4.04), (8.95,6.14,10.045,6.44)])
R(c_3to7_deco_v2, pSD, [(8.95,3.74,10.04,4.04)])
R(c_3to7_deco_v2, Metal3, [(0.52,1.885,0.72,6.85), (0.125,6.65,16.375,6.85), (9.76,6.655,9.96,8.74)])
R(c_3to7_deco_v2, NWell, [(8.95,6.14,10.045,6.44)])
R(c_3to7_deco_v2, Metal4, [(1.415,1.885,1.615,7.26), (3.52,2.075,5.18,2.275), (3.52,2.075,3.72,7.26), (0.125,7.06,16.375,7.26), (8.27,7.06,8.47,8.74)])
R(c_3to7_deco_v2, Metal5, [(3.03,1.795,3.23,7.67), (5.44,1.805,5.64,3.505), (2.52,1.885,2.72,7.67), (4.02,3.29,5.64,3.505), (4.02,3.29,4.22,7.67), (0.125,7.47,16.375,7.67), (6.78,7.47,6.98,8.71)])
c_3to7_deco_v2.add(gdstk.Reference(inv, (5.605,7.625)))
c_3to7_deco_v2.add(gdstk.Reference(inv, (7.095,7.625)))
c_3to7_deco_v2.add(gdstk.Reference(inv, (8.585,7.625)))
c_3to7_deco_v2.add(gdstk.Reference(and_custom, (10.68,3.485), rotation=pi, x_reflection=True))
c_3to7_deco_v2.add(gdstk.Reference(or_custom, (9.875,3.46)))
c_3to7_deco_v2.add(gdstk.Reference(via_stack_3, (6.88,8.61)))
c_3to7_deco_v2.add(gdstk.Reference(via_stack_3, (6.88,7.57)))
c_3to7_deco_v2.add(gdstk.Reference(via_stack_4, (8.365,8.64)))
c_3to7_deco_v2.add(gdstk.Reference(via_stack_4, (8.365,7.165)))
c_3to7_deco_v2.add(gdstk.Reference(via_stack_6, (9.855,8.64)))
c_3to7_deco_v2.add(gdstk.Reference(via_stack_6, (9.855,6.75)))
c_3to7_deco_v2.add(gdstk.Reference(nand_x3_custom, (13.135,-2.27)))
c_3to7_deco_v2.add(gdstk.Reference(nand_custom, (10.735,-0.895)))
c_3to7_deco_v2.add(gdstk.Reference(nand_custom, (8.465,-0.895)))
c_3to7_deco_v2.add(gdstk.Reference(inv, (7.475,0.55)))
c_3to7_deco_v2.add(gdstk.Reference(nor_custom, (7.67,0.525), rotation=pi, x_reflection=True))
c_3to7_deco_v2.add(gdstk.Reference(nor_custom, (5.305,0.525), rotation=pi, x_reflection=True))
c_3to7_deco_v2.add(gdstk.Reference(nor_x3_custom, (-0.95,-0.06)))
c_3to7_deco_v2.add(gdstk.Reference(via_stack_3, (2.615,1.985)))
c_3to7_deco_v2.add(gdstk.Reference(via_stack_3, (2.62,7.57)))
c_3to7_deco_v2.add(gdstk.Reference(via_stack_4, (1.52,1.985)))
c_3to7_deco_v2.add(gdstk.Reference(via_stack_4, (1.515,7.16)))
c_3to7_deco_v2.add(gdstk.Reference(via_stack_6, (0.62,1.985)))
c_3to7_deco_v2.add(gdstk.Reference(via_stack_6, (0.62,6.75)))
c_3to7_deco_v2.add(gdstk.Reference(via_stack_3, (3.13,1.9)))
c_3to7_deco_v2.add(gdstk.Reference(via_stack_3, (3.125,7.575)))
c_3to7_deco_v2.add(gdstk.Reference(via_stack_4, (5.035,2.175)))
c_3to7_deco_v2.add(gdstk.Reference(via_stack_4, (3.615,7.165)))
c_3to7_deco_v2.add(gdstk.Reference(via_stack_3, (5.54,1.9)))
c_3to7_deco_v2.add(gdstk.Reference(via_stack_3, (5.54,1.9)))

lib.write_gds('3to7_deco_v2.gds')
